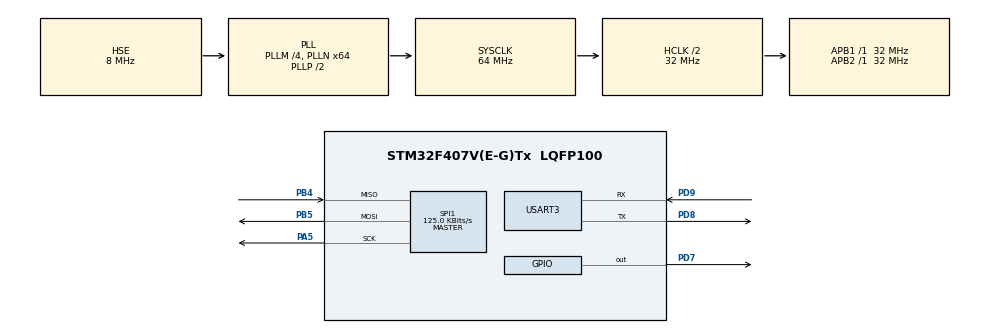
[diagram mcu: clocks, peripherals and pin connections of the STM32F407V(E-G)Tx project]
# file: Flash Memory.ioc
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Mcu.Family=STM32F4
Mcu.Name=STM32F407V(E-G)Tx
Mcu.Package=LQFP100
NVIC.PriorityGroup=NVIC_PRIORITYGROUP_4
PA5.Mode=Full_Duplex_Master
PA5.Signal=SPI1_SCK
PB4.Mode=Full_Duplex_Master
PB4.Signal=SPI1_MISO
PB5.Mode=Full_Duplex_Master
PB5.Signal=SPI1_MOSI
PD7.Signal=GPIO_Output
PD8.Mode=Asynchronous
PD8.Signal=USART3_TX
PD9.Mode=Asynchronous
PD9.Signal=USART3_RX
PH0-OSC_IN.Mode=HSE-External-Oscillator
PH0-OSC_IN.Signal=RCC_OSC_IN
PH1-OSC_OUT.Mode=HSE-External-Oscillator
PH1-OSC_OUT.Signal=RCC_OSC_OUT
ProjectManager.HeapSize=0x200
ProjectManager.StackSize=0x400
ProjectManager.TargetToolchain=STM32CubeIDE
RCC.48MHZClocksFreq_Value=32000000
RCC.AHBCLKDivider=RCC_SYSCLK_DIV2
RCC.AHBFreq_Value=32000000
RCC.APB1Freq_Value=32000000
RCC.APB1TimFreq_Value=32000000
RCC.APB2Freq_Value=32000000
RCC.APB2TimFreq_Value=32000000
RCC.CortexFreq_Value=32000000
RCC.HCLKFreq_Value=32000000
RCC.HSE_VALUE=8000000
RCC.HSI_VALUE=16000000
RCC.LSE_VALUE=32768
RCC.PLLM=4
RCC.PLLN=64
RCC.PLLSourceVirtual=RCC_PLLSOURCE_HSE
RCC.SYSCLKFreq_VALUE=64000000
RCC.SYSCLKSource=RCC_SYSCLKSOURCE_PLLCLK
RCC.VCOOutputFreq_Value=128000000
SPI1.BaudRatePrescaler=SPI_BAUDRATEPRESCALER_256
SPI1.CalculateBaudRate=125.0 KBits/s
SPI1.Direction=SPI_DIRECTION_2LINES
SPI1.Mode=SPI_MODE_MASTER
SPI1.VirtualType=VM_MASTER
USART3.VirtualMode=VM_ASYNC
board=custom

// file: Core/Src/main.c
/* USER CODE BEGIN Header */
/**
 ******************************************************************************
 * @file           : main.c
 * @brief          : Main program body
 ******************************************************************************
 * @attention
 *
 * <h2><center>&copy; Copyright (c) 2021 STMicroelectronics.
 * All rights reserved.</center></h2>
 *
 * This software component is licensed by ST under BSD 3-Clause license,
 * the "License"; You may not use this file except in compliance with the
 * License. You may obtain a copy of the License at:
 *                        opensource.org/licenses/BSD-3-Clause
 *
 ******************************************************************************
 */
/* USER CODE END Header */
#include "main.h"
/* USER CODE BEGIN Includes */
#include <stdio.h>
#include "string.h"
#include "stdlib.h"
#include "math.h"
/* USER CODE END Includes */

/* USER CODE BEGIN PD */
/*Команды необходимые для работы с памятью*/
#define READ 0x03				//Считывание флеш-памяти(25Мгц)
#define SECTOR_4KB_ERASE 0x20	//Очистка сектора(4Кб)
#define CHIP_ERASE 0x60			//Очистка всей памяти
#define BYTE_PROGRAM 0x02		//Запись одного байта в память
#define RDSR 0x05				//Считывание регистра состояния
#define EWSR 0x50				//Получения доступа к регистру записи
#define WRSR 0x01				//Регистр записи
#define WREN 0x06				//Разрешение записи
/*Размеры необходимые для работы с памятью*/
#define MAX_SECTORS 0x1ff		//Максимальное количество секторов
#define MAX_SIZE_SECTOR 0xfff	//Размер сектора
#define MAX_SIZE 0x1fffff		//Размер всей памяти
/* USER CODE END PD */

/* USER CODE BEGIN PM */
#define ARRAY_SIZE(x) (sizeof((x)) / sizeof((x)[0])) //Макрос для определения количества елементов в массиве
/* USER CODE END PM */

SPI_HandleTypeDef hspi1;

UART_HandleTypeDef huart3;

/* USER CODE BEGIN PV */
/*Переменные состояния*/
enum {//Считывание/Запись необходимые для функции TxRxSPI
	Read,
	Write
};
enum {//Включен/Выключен необходимые для функции CE
	CE_ON,
	CE_OFF
};
/*Временная капсула*/
const uint8_t *time_capsule[] =
		{
				"From: Roman Muravka, dinaroma5323@gmail.com\r",
				"Mentor: Vladyslav Kotsiurba, iDontKnow@gmail.com\r",
				"Date: 28.11.2021\r", "TIME CAPSULE\r",
				">>> Music that gave me strength in 2021 <<<\r",
				"Imagine Dragons - Radioactive\r",
				"Miyagi & Andy Panda - Сartridge\r",
				"Eminem - Without Me\r",
				"Macklemore - Thrift Shop (feat. Wanz)\r",
				"10AGE - A gun\r", "10AGE - Zoo\r",
				"MiyaGi - Dear sing\r", "Scryptonite - Moscow loves ...\r",
				"Miyagi & Andy Panda - Fire Man\r", "IOWA - Simple song\r",
				"IOWA - 140\r", "Scryptonite and Ryda - Baby mama\r",
				"Scryptonite - Pets\r", "Captown - I taxi\r",
				"Captown - Various rubbish\r",
				"Eminem - The Real Slim Shady\r", "10AGE and Ramil - Au\r",
				"Miyagi - Malboro\r", "Eminem - Crazy In Love\r",
				"T-Fest and Scryptonite - Lambada\r",
				"I gave you a good mood, everything else is on you, go to the top without sparing your legs.\r",
				"Good luck!!!\r"
		};

/* USER CODE END PV */

void SystemClock_Config(void);
static void MX_GPIO_Init(void);
static void MX_USART3_UART_Init(void);
static void MX_SPI1_Init(void);

/* USER CODE BEGIN PFP */
/*Функции необходимые для работы с памятью*/
void CE(_Bool State);																//Включение/Выключение чипа памяти
void TxRxSPI(uint8_t* tx, uint8_t* rx, uint32_t sizeTx, uint32_t sizeRx, _Bool WR); //Отправка/Прием
void EraseMemory(void);																//Очистка памяти
void EraseSector(void);																//Очистка сектора
void WriteToMemory(void);															//Запись в память
void ReadMemory(void);																//Считывание содержимого памяти
void isItBusy(void);																//Проверка готовности приема команд управления
uint16_t scanUart(void);															//Универсальный ввод в консоль UART

/*printf для вывода через UART*/
int _write(int file, char *ptr, int len) {
	HAL_UART_Transmit(&huart3, (uint8_t*) ptr, len, 10);
	return len;
}
/* USER CODE END PFP */

/* USER CODE BEGIN 0 */
/*Включение/Выключение чипа памяти*/
////////////////////////////////START CE///////////////////////////////////////////
void CE(_Bool State) {
	HAL_GPIO_WritePin(GPIOD, GPIO_PIN_7, State);
}
////////////////////////////////END CE/////////////////////////////////////////////

/*Отправка/Прием*/
////////////////////////////////START TxRxSPI///////////////////////////////////////
void TxRxSPI(uint8_t* tx, uint8_t* rx, uint32_t sizeTx, uint32_t sizeRx, _Bool WR) {
	uint8_t EnableWrite = WREN;
	if (WR == Write) {
		/*Запись*/
		////////////////////////////////START//////////////////////////////////////////////
		/*Разрешение записи*/
		CE(CE_ON);
		HAL_SPI_Transmit(&hspi1, &EnableWrite, 1, 100);
		CE(CE_OFF);
		/*Запись*/
		CE(CE_ON);
		HAL_SPI_Transmit(&hspi1, tx, sizeTx, 100);
		CE(CE_OFF);
		////////////////////////////////END////////////////////////////////////////////////
	}
	else{
		/*Чтение*/
		////////////////////////////////START/////////////////////////////////////////////
		CE(CE_ON);
		HAL_SPI_Transmit(&hspi1, tx, sizeTx, 100);
		HAL_SPI_Receive(&hspi1, rx, sizeRx, 100);
		CE(CE_OFF);
		////////////////////////////////END////////////////////////////////////////////////
	}
}
////////////////////////////////END TxRxSPI////////////////////////////////////////

/*Очистка памяти*/
////////////////////////////////START EraseMemory//////////////////////////////////
void EraseMemory(void){
	uint8_t tx = CHIP_ERASE;
	TxRxSPI(&tx, NULL, 1, NULL, Write);
	isItBusy();
}
////////////////////////////////END EraseMemory////////////////////////////////////

/*Очистка сектора*/
////////////////////////////////START EraseSector//////////////////////////////////
void EraseSector(void){
	uint8_t tx [4], choose; //Массив для отправки команды и переменная для хранения номера вводимого сектора
	uint16_t sector_addr = 0x00; //Адрес
	/*Ввод номера сектора*/
	////////////////////////////////START//////////////////////////////////////////////
	printf ("\r\n\nPlease enter address(DEC) 0..511: ");
	fflush(stdout);
	sector_addr = scanUart();
	////////////////////////////////END////////////////////////////////////////////////
	/*Удаление содержимого выбраного сектора*/
	////////////////////////////////START//////////////////////////////////////////////
	if (sector_addr < 0x1ff) {
		/*Проверка на правильность ввода пользователя*/
		printf("\r\nYou put in the number 0x%x(HEX), right?(y/n): ", sector_addr);
		fflush(stdout);
		choose = scanUart();
		/*Удаление содержимого*/
		if (choose == 'y' || choose == 'Y') {
			tx[0] = SECTOR_4KB_ERASE;
			tx[1] = (uint8_t) (sector_addr >> 4);
			tx[2] = (uint8_t) (sector_addr << 4);
			tx[3] = 0x00;
			TxRxSPI(&tx, NULL, 4, NULL, Write);
			isItBusy();
			printf ("\r\nSector 0x%x is clear\n", sector_addr);
		}
	}
	else
		printf("\n\r!!!WRONG NUMBER!!!\n");
}
////////////////////////////////END EraseSector////////////////////////////////////

/*Запись в память*/
////////////////////////////////START WriteToMemory////////////////////////////////
void WriteToMemory(void){
	EraseMemory(); //Очистка памяти перед записью
	uint8_t* string; //Строка из массива временной капсулы
	uint8_t byteCommand[5] = { 0 };//Массив для отправки команды записи
	uint16_t sector_addr = 0x00;//Адрес сектора
	uint16_t address = 0x00;//Адрес ячейки размером 1 байт
	for (sector_addr = 0; sector_addr < ARRAY_SIZE(time_capsule); sector_addr++){
		/*Запись в память*/
		////////////////////////////////START//////////////////////////////////////////////
		string = time_capsule[sector_addr]; //Взятие строки из временной капсулы
		for (address = 0; *string != '\0'; address++, string++){
			/*Запись в сектор*/
			////////////////////////////////START//////////////////////////////////////////////

			/*Запись и отправка команды (0x02), необходимого адреса состоящего из сектора(s) и ячейки памяти(b), и передаваемого символа */
			byteCommand[0] = BYTE_PROGRAM;									//00000010 \									/
			byteCommand[1] = (uint8_t)(sector_addr >> 4);					//0000ssss  \									/
			byteCommand[2] = (uint8_t)((sector_addr << 4) | (address >> 8));//ssssbbbb   - [0x02][0x0s][0xssbb][0xbb][0xdd]	/
			byteCommand[3] = (uint8_t)(address & 0xff);						//bbbbbbbb  /									/
			byteCommand[4] = *string;										//dddddddd /									/
			TxRxSPI(byteCommand, NULL, 5, NULL, Write);

			/*Проверка на конец строки, заполненость сектора и памяти*/
			if (*string == '\r') {
				address++;
				byteCommand[0] = BYTE_PROGRAM;
				byteCommand[1] = (uint8_t) (sector_addr >> 4);
				byteCommand[2] = (uint8_t) (sector_addr << 4) | (address >> 8);
				byteCommand[3] = (uint8_t) (address & 0xff);
				byteCommand[4] = '\n';
				TxRxSPI(byteCommand, NULL, 5, NULL, Write);
			}
			if (address == MAX_SIZE_SECTOR){
				printf("The sector is full, the line may not be completed\r\n");
				break;
			}
			if (sector_addr == MAX_SECTORS){
				printf("The memory is full, the text may not be completed\r\n");
				break;

			}
			////////////////////////////////END////////////////////////////////////////////////
		}
		////////////////////////////////END////////////////////////////////////////////////
	}

}
////////////////////////////////END WriteToMemory//////////////////////////////////

/*Считывание содержимого памяти*/
////////////////////////////////START ReadMemory///////////////////////////////////
void ReadMemory(void){
	uint8_t readData;			 //Cчитываемый байт памяти
	uint16_t emptySector;		 //Кол-во пустых секторов
	uint16_t sector_addr = 0x00; //Адрес сектора
	uint16_t address = 0x00;	 //Адрес ячейки
	uint8_t readCommand[4];		 //Массив для отправки команды

	for (sector_addr = 0; sector_addr <= MAX_SECTORS; sector_addr++){
		/*Чтение из памяти*/
		////////////////////////////////START//////////////////////////////////////////////
		if (!emptySector)
			printf("\r\nsector #0x%x (%dKb) //", sector_addr, sector_addr * 4);
		for (address = 0; address <= MAX_SIZE_SECTOR; address++){
			/*Чтение из сектора*/
			////////////////////////////////START//////////////////////////////////////////////

			/*Запись и отправка команды (0x03), необходимого адреса состоящего из сектора(s) и ячейки памяти(b), и передаваемого символа */
			readCommand[0] = READ;											  //00000011 \							 /
			readCommand[1] = (uint8_t) (sector_addr >> 4);					  //0000ssss  \__[0x03][0x0s][0xsb][0xbb]/
			readCommand[2] = (uint8_t) ((sector_addr << 4) | (address >> 8)); //ssssbbbb  /							 /
			readCommand[3] = (uint8_t) (address & 0xff);					  //bbbbbbbb /							 /
			TxRxSPI(readCommand, &readData, 4, 1, Read);
			/*Проверки связаные с пустотой байта и сектора*/
			if (readData != 0xff) {
				switch (emptySector) { //Проверка на наличие пустых секторов перед сектором с данными
				case 0: //Пустых секторов нет
					printf("%c", readData);
					//fflush(stdout);
					emptySector = 0;
					break;
				case 1: //1 пустой сектор
					printf("sector #0x%x (%dKb) //Empty\r\n", sector_addr - 1, (sector_addr - 1) * 4);
					printf("\r\nsector #0x%x (%dKb) //%c", sector_addr, sector_addr * 4, readData);
					emptySector = 0;
					break;
				case 2: //2 пустых сектора
					printf("sector #0x%x (%dKb) //Empty\r\n\n", sector_addr - 2, (sector_addr - 2) * 4);
					printf("sector #0x%x (%dKb) //Empty\r\n", sector_addr - 1, (sector_addr - 1) * 4);
					printf("\r\nsector #0x%x (%dKb) //%c", sector_addr, sector_addr * 4, readData);
					emptySector = 0;
					break;
				default: //Больше двух секторов
					printf("sector #0x%x...#0x%x //Empty\r\n", sector_addr - emptySector, sector_addr - 1);
					printf("\r\nsector #0x%x (%dKb) //%c", sector_addr, sector_addr * 4, readData);
					emptySector = 0;
					break;
				}
			}

			else if(address == 0x00){
				if(!emptySector)
					printf("\r");
				emptySector++; //Найден пустой сектор
				break;
			}

			else
				break;

			////////////////////////////////END////////////////////////////////////////////////
		}
		////////////////////////////////END////////////////////////////////////////////////
	}
	/*Вывод количества пустых секторов после которых нет секторов с данными*/
	if (emptySector){
				printf("sector #0x%x...#0x%x //Empty!!!\r\n\n", (MAX_SECTORS - emptySector) + 1, MAX_SECTORS);
			}
}
////////////////////////////////END ReadMemory/////////////////////////////////////

/*Проверка готовности приема команд управления*/
////////////////////////////////START IsItBusy/////////////////////////////////////
void isItBusy(void){
	uint8_t readCommand = RDSR;
	uint8_t readRegister = 0;
	do
	TxRxSPI(&readCommand, &readRegister, 1,1 , Read);
	while(readRegister & 0x01);
}
////////////////////////////////END IsItBusy///////////////////////////////////////

/*Универсальный ввод в консоль UART*/
////////////////////////////////START scanUart/////////////////////////////////////
uint16_t scanUart(void) { //Универсальный ввод
	uint8_t enter = 0, scan[4] = { 0 }, i = 0, countLett = 0;
	uint16_t result = 0;

	for (int i = 0; i <= 4; i++)
		scan[i] = 0;

	/*Ввод значений с использованием Enter и Backspace*/
	while (enter != '\r') {
		HAL_UART_Receive(&huart3, &scan[i], 1, 10); //Ввод символа
		enter = scan[i]; //запись в переменную для проверки нажатие Enter или Backspace
		/*Проверка на ввод чего либо или нажатие Enter*/
		if (scan[i] == 0 || scan[i] == '\r')
			continue;
		/*Проверка на нажатие Backspace*/
		if (enter == '\b') {
			/*Проверка на наличие елементов для очистки*/
			if (i) {
				/*Стирание символа в консоли*/
				printf("\b \b");
				fflush(stdout);

				/*Очистка символа Backspace и стираемого символа*/
				scan[i--] = 0;
				scan[i] = 0;
			} else
				/*Очистка символа Backspace так как нет символа для очистки*/
				scan[i] = 0;
			continue;
		}
		printf("%c", scan[i]); //Вывод вводимого символа в консоль
		fflush(stdout);
		i++;
	}

	countLett = i - 1; //Сохранение количества вводимых символов

	/*Проверка на ввод цифр*/
	for (int i = 0, l = 0; i <= countLett; i++) {
		/*Если введена последовательность цифр и букв, то возращаем 0, если нет - Проверка*/
		if (scan[i] < '0' || scan[i] > '9') {
			if (l)
				result = 0;
			else if (scan[i + 1] == '\r') // Если после вводимого символа ничего нет - возращаем символ, есть - возращаем 0
				result = scan[i];
			else
				result = 0;
			goto Return;
		}
		l++;
	}
	/*Конвертация в целочисленные значения и последующий возврат*/
	for (i = 0; i <= countLett; i++) {
		scan[i] -= '0';
		result += (scan[i] * (pow(10, countLett - i)));
	}

	Return: return result;
}
////////////////////////////////END scanUart///////////////////////////////////////
/* USER CODE END 0 */

int main(void) {

	/* MCU Configuration--------------------------------------------------------*/

	/* Reset of all peripherals, Initializes the Flash interface and the Systick. */
	HAL_Init();

	/* Configure the system clock */
	SystemClock_Config();

	/* Initialize all configured peripherals */
	MX_GPIO_Init();
	MX_USART3_UART_Init();
	MX_SPI1_Init();

	/* Infinite loop */
	/* USER CODE BEGIN WHILE */
	HAL_GPIO_WritePin(GPIOD, GPIO_PIN_7, GPIO_PIN_SET);
	HAL_Delay(100);
	uint8_t choose = 0; //Переменная которая хранит данные ввода с главного меню
	uint8_t TxArray [2] = { 0 }; //Массив для отключения защиты от записи

/*Получение  разрешения для измения регистра записи и отключение защиты от записи*/
	////////////////////////////////START//////////////////////////////////////////////
	CE(0);
	TxArray[0] = EWSR;
	HAL_SPI_Transmit(&hspi1, TxArray, 1, 100);
	CE(1);
	CE(0);
	TxArray[0] = WRSR;
	TxArray[1] = 0;
	HAL_SPI_Transmit(&hspi1, TxArray, 2, 100);
	CE(1);
	////////////////////////////////END////////////////////////////////////////////////

	while (1) {
/*Главное меню управления флеш-памятью*/
		////////////////////////////START//////////////////////////////////////////////
		printf("\r\n\n\nAction options:\r\n");						//Варианты действий
		printf("\t1 - Clear the memory\r\n");						//Очистить память
		printf("\t2 - Write to memory\r\n");						//Запись в память временной капсулы
		printf("\t3 - Read the contents of memory\r\n");			//Прочитать содержимое памяти
		printf("\t4 - Сlear memory sector(4Kb)\r\n\n");				//Очистить сектор памяти размером 4Кб
		printf("\n\rYour choice(After entering, press ENTER): ");	//Поле для ввода (после ввода нажать Enter)
		fflush(stdout);
		choose = scanUart(); //Ввод
		////////////////////////////END////////////////////////////////////////////////

/*Действия относительно введенных данных*/
		////////////////////////////START//////////////////////////////////////////////
		switch (choose) {
		case 1: //Очистка памяти
			printf("\r\n\tAre you sure you want to clear the contents of memory(y/n)? ");//Проверка на случайный ввод
			fflush(stdout);
			choose = scanUart();
			if (choose == 'y' || choose == 'Y'){
				printf("\r\n\n\n...CLEARING MEMORY...\r\n");
				EraseMemory();
				printf("\r\n\n\n.../MEMORY IS CLEAR\\...\r\n");
			}
			break;

		case 2: //Запись в память
			printf("\r\n\tAre you sure that you want to write new data, all data will be cleared before writing(y/n)? ");//Проверка на случайный ввод
			fflush(stdout);
			choose = scanUart();
			if (choose == 'y' || choose == 'Y'){
				printf("\r\n\n\n...WRITING TO MEMORY...\r\n");
				WriteToMemory();
				printf("\r\n\n\n.../RECORDING COMPLETED\\...\r\n");
			}
			break;

		case 3: //Считывание содержимого памяти
			printf("\r\n\n\n...DATA READING STARTED...\r\n");
			ReadMemory();
			printf("\r\n.../MEMORY CONTENT READ\\...\r\n\n\n");
			break;

		case 4: //Очистка сектора памяти
			printf("\r\n\n\n...CLEARING SECTOR...\r\n");
			EraseSector();
			printf("\r\n\n\n.../SECTOR IS CLEAR\\...\r\n");
			break;

		default: //Неправильный ввод
			printf("\n\r!!!WRONG NUMBER!!!\n");
			break;
		}
		////////////////////////////END////////////////////////////////////////////////
		/* USER CODE END WHILE */

	}
}

void SystemClock_Config(void) {
	RCC_OscInitTypeDef RCC_OscInitStruct = { 0 };
	RCC_ClkInitTypeDef RCC_ClkInitStruct = { 0 };

	/** Configure the main internal regulator output voltage
	 */
	__HAL_RCC_PWR_CLK_ENABLE();
	__HAL_PWR_VOLTAGESCALING_CONFIG(PWR_REGULATOR_VOLTAGE_SCALE1);
	/** Initializes the RCC Oscillators according to the specified parameters
	 * in the RCC_OscInitTypeDef structure.
	 */
	RCC_OscInitStruct.OscillatorType = RCC_OSCILLATORTYPE_HSE;
	RCC_OscInitStruct.HSEState = RCC_HSE_ON;
	RCC_OscInitStruct.PLL.PLLState = RCC_PLL_ON;
	RCC_OscInitStruct.PLL.PLLSource = RCC_PLLSOURCE_HSE;
	RCC_OscInitStruct.PLL.PLLM = 4;
	RCC_OscInitStruct.PLL.PLLN = 64;
	RCC_OscInitStruct.PLL.PLLP = RCC_PLLP_DIV2;
	RCC_OscInitStruct.PLL.PLLQ = 4;
	if (HAL_RCC_OscConfig(&RCC_OscInitStruct) != HAL_OK) {
		Error_Handler();
	}
	/** Initializes the CPU, AHB and APB buses clocks
	 */
	RCC_ClkInitStruct.ClockType = RCC_CLOCKTYPE_HCLK | RCC_CLOCKTYPE_SYSCLK
			| RCC_CLOCKTYPE_PCLK1 | RCC_CLOCKTYPE_PCLK2;
	RCC_ClkInitStruct.SYSCLKSource = RCC_SYSCLKSOURCE_PLLCLK;
	RCC_ClkInitStruct.AHBCLKDivider = RCC_SYSCLK_DIV2;
	RCC_ClkInitStruct.APB1CLKDivider = RCC_HCLK_DIV1;
	RCC_ClkInitStruct.APB2CLKDivider = RCC_HCLK_DIV1;

	if (HAL_RCC_ClockConfig(&RCC_ClkInitStruct, FLASH_LATENCY_1) != HAL_OK) {
		Error_Handler();
	}
}

static void MX_SPI1_Init(void) {

	/* SPI1 parameter configuration*/
	hspi1.Instance = SPI1;
	hspi1.Init.Mode = SPI_MODE_MASTER;
	hspi1.Init.Direction = SPI_DIRECTION_2LINES;
	hspi1.Init.DataSize = SPI_DATASIZE_8BIT;
	hspi1.Init.CLKPolarity = SPI_POLARITY_LOW;
	hspi1.Init.CLKPhase = SPI_PHASE_1EDGE;
	hspi1.Init.NSS = SPI_NSS_SOFT;
	hspi1.Init.BaudRatePrescaler = SPI_BAUDRATEPRESCALER_256;
	hspi1.Init.FirstBit = SPI_FIRSTBIT_MSB;
	hspi1.Init.TIMode = SPI_TIMODE_DISABLE;
	hspi1.Init.CRCCalculation = SPI_CRCCALCULATION_DISABLE;
	hspi1.Init.CRCPolynomial = 10;
	if (HAL_SPI_Init(&hspi1) != HAL_OK) {
		Error_Handler();
	}

}

static void MX_USART3_UART_Init(void) {

	huart3.Instance = USART3;
	huart3.Init.BaudRate = 115200;
	huart3.Init.WordLength = UART_WORDLENGTH_8B;
	huart3.Init.StopBits = UART_STOPBITS_1;
	huart3.Init.Parity = UART_PARITY_NONE;
	huart3.Init.Mode = UART_MODE_TX_RX;
	huart3.Init.HwFlowCtl = UART_HWCONTROL_NONE;
	huart3.Init.OverSampling = UART_OVERSAMPLING_16;
	if (HAL_UART_Init(&huart3) != HAL_OK) {
		Error_Handler();
	}

}

static void MX_GPIO_Init(void) {
	GPIO_InitTypeDef GPIO_InitStruct = { 0 };

	/* GPIO Ports Clock Enable */
	__HAL_RCC_GPIOH_CLK_ENABLE();
	__HAL_RCC_GPIOA_CLK_ENABLE();
	__HAL_RCC_GPIOD_CLK_ENABLE();
	__HAL_RCC_GPIOB_CLK_ENABLE();

	/*Configure GPIO pin Output Level */
	HAL_GPIO_WritePin(GPIOD, GPIO_PIN_7, GPIO_PIN_RESET);

	/*Configure GPIO pin : PD7 */
	GPIO_InitStruct.Pin = GPIO_PIN_7;
	GPIO_InitStruct.Mode = GPIO_MODE_OUTPUT_PP;
	GPIO_InitStruct.Pull = GPIO_NOPULL;
	GPIO_InitStruct.Speed = GPIO_SPEED_FREQ_LOW;
	HAL_GPIO_Init(GPIOD, &GPIO_InitStruct);

}

void Error_Handler(void) {
	__disable_irq();
	while (1) {
	}
}

/************************ (C) COPYRIGHT STMicroelectronics *****END OF FILE****/
